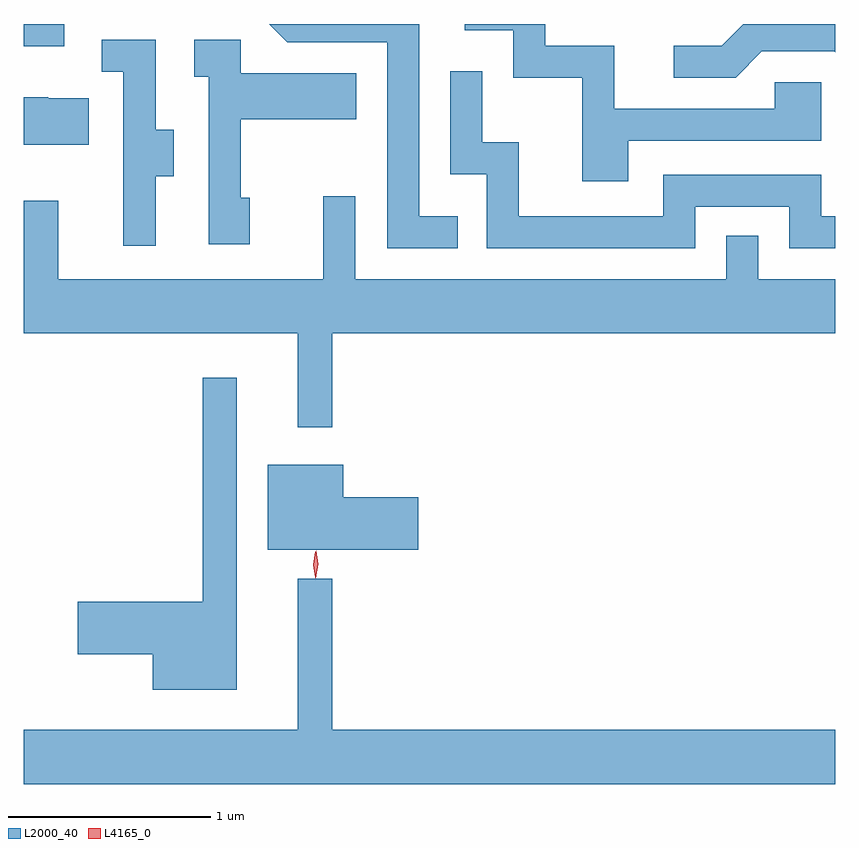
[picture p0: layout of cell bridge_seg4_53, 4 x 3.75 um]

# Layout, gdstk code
import gdstk
lib = gdstk.Library(unit=1e-6, precision=1e-09)
def R(c, l, rs):  # rectangles x0, y0, x1, y1
    for r in rs: c.add(gdstk.rectangle(r[:2], r[2:], *l))
def P(c, l, *ps):  # polygons
    for p in ps: c.add(gdstk.Polygon(p, *l))
L2000_40 = (2000, 40)
L4165_0 = (4165, 0)

bridge_seg4_53 = lib.new_cell('bridge_seg4_53')
R(bridge_seg4_53, L2000_40, [(1340.939,1265.071,1341.139,1265.181)])
P(bridge_seg4_53, L2000_40, [(1343.078,1264.234),(1342.889,1264.234),(1342.889,1265.181),(1342.149,1265.181),(1342.239,1265.091),(1342.731,1265.091),(1342.731,1264.076),(1343.078,1264.076)],
  [(1343.919,1264.606),(1344.869,1264.606),(1344.869,1264.894),(1344.641,1264.894),(1344.641,1264.764),(1343.849,1264.764),(1343.849,1265.074),(1343.509,1265.074),(1343.509,1265.181),(1343.113,1265.181),(1343.113,1265.151),(1343.351,1265.151),(1343.351,1264.916),(1343.691,1264.916),(1343.691,1264.406),(1343.919,1264.406)],
  [(1344.577,1265.046),(1344.934,1265.046),(1344.939,1265.041),(1344.939,1265.181),(1344.486,1265.181),(1344.379,1265.074),(1344.143,1265.074),(1344.143,1264.916),(1344.447,1264.916)],
  [(1342.054,1264.324),(1342.009,1264.324),(1342.009,1264.711),(1342.579,1264.711),(1342.579,1264.939),(1342.009,1264.939),(1342.009,1265.104),(1341.781,1265.104),(1341.781,1264.921),(1341.851,1264.921),(1341.851,1264.096),(1342.054,1264.096)],
  [(1341.589,1264.431),(1341.679,1264.431),(1341.679,1264.659),(1341.589,1264.659),(1341.589,1265.104),(1341.323,1265.104),(1341.323,1264.946),(1341.431,1264.946),(1341.431,1264.088),(1341.589,1264.088)],
  [(1344.249,1264.281),(1344.711,1264.281),(1344.711,1264.076),(1344.939,1264.076),(1344.939,1264.234),(1344.869,1264.234),(1344.869,1264.439),(1344.091,1264.439),(1344.091,1264.234),(1343.379,1264.234),(1343.379,1264.599),(1343.199,1264.599),(1343.199,1264.948),(1343.041,1264.948),(1343.041,1264.441),(1343.221,1264.441),(1343.221,1264.076),(1344.249,1264.076)],
  [(1341.259,1264.814),(1341.06,1264.814),(1341.06,1264.819),(1340.939,1264.819),(1340.939,1264.586),(1341.259,1264.586)],
  [(1342.459,1263.656),(1344.939,1263.656),(1344.939,1263.924),(1344.559,1263.924),(1344.559,1264.138),(1344.401,1264.138),(1344.401,1263.924),(1342.574,1263.924),(1342.574,1264.333),(1342.416,1264.333),(1342.416,1263.924),(1341.109,1263.924),(1341.109,1264.309),(1340.939,1264.309),(1340.939,1263.656),(1342.291,1263.656),(1342.291,1263.193),(1342.459,1263.193)],
  [(1341.989,1263.438),(1341.821,1263.438),(1341.821,1262.334),(1341.206,1262.334),(1341.206,1262.076),(1341.576,1262.076),(1341.576,1261.901),(1341.989,1261.901)],
  [(1342.884,1262.849),(1342.514,1262.849),(1342.514,1263.009),(1342.141,1263.009),(1342.141,1262.591),(1342.884,1262.591)],
  [(1344.939,1261.704),(1342.459,1261.704),(1342.459,1262.448),(1342.291,1262.448),(1342.291,1261.704),(1340.939,1261.704),(1340.939,1261.436),(1344.939,1261.436)])
P(bridge_seg4_53, L4165_0, [(1342.377,1262.453),(1342.376,1262.454),(1342.367,1262.516),(1342.376,1262.58),(1342.377,1262.58),(1342.378,1262.58),(1342.387,1262.516),(1342.378,1262.454)],
  [(1342.378,1262.45),(1342.37,1262.518),(1342.38,1262.586),(1342.381,1262.586),(1342.381,1262.586),(1342.39,1262.518),(1342.379,1262.45),(1342.379,1262.45)])

lib.write_gds('bridge_seg4_53.gds')
